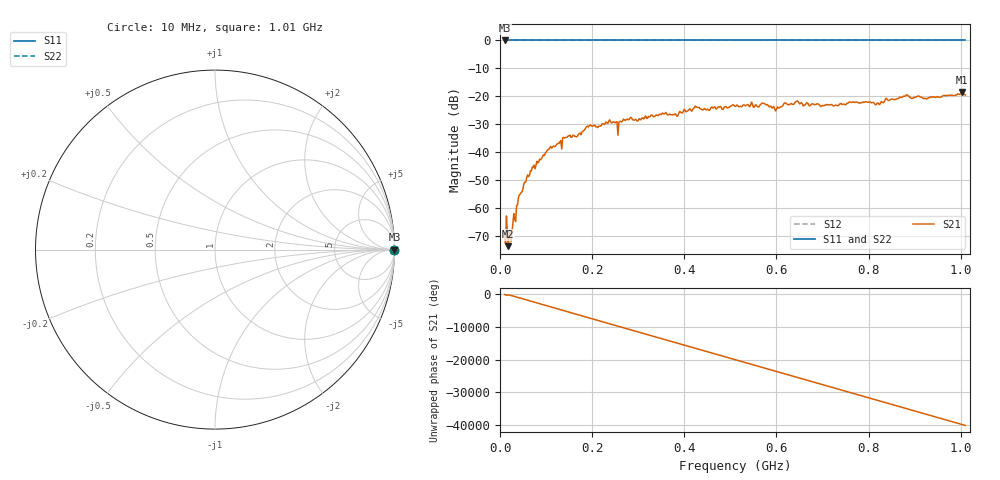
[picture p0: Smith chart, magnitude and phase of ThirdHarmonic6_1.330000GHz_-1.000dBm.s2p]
! 8/16/2025 2:51:48 PM
! C:\ANRITSUVNA\TEMP\TEMP.S2P
! CHANNEL.1
! TR.MEASUREMENT
! RAW.DATA
! RF.CORRECTION.OFF
! AVERAGING.OFF
! IF.BANDWIDTH: 5KHZ
! SWEEPTYPE:  FREQ.SWEEP(Linear)
! Reference Plane Port Info
! PORT:  PORT1  PORT2
! DISTANCE:  0  m  0  m
! TIME:  0  s  0  s
! PHASE.OFFSET:  0  deg.  0  deg.
! LOSS:  0  dB  0  dB
! REF.LOSS:  0  dB  0  dB
! REF.FREQ:  0  Hz  0  Hz
! Power Info
! POWER:  -20  dBm  -20  dBm
! EFF.POWER:  -20  dBm  -20  dBm
! SOURCE.ATTEN:  0  dB  0  dB
! TEST.ATTEN:  0  dB  0  dB
# GHZ S RI R 50.0
! FREQ.GHZ  S11RE  S11IM  S21RE  S21IM  S12RE  S12IM  S22RE  S22IM
!; PortSelection: Port_12
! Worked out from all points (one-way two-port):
!   501 points, 10 MHz to 1.01 GHz, reference 50 ohm
!   highest |S21| = -18.62 dB at 1.002 GHz (marker M1); lowest = -73.8 dB at 18 MHz (marker M2)
!   lowest |S11| = 0.0 dB at 10 MHz (marker M3)
!   |S11| at or under -10 dB: nowhere
!   |S22| runs from 0.0 to 0.0 dB; largest |S21 - S12| = 1.1
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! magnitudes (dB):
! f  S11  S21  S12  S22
! 10 MHz  0.0  -69.1  0.0  0.0
! 18 MHz  0.0  -73.8  0.0  0.0
! 22 MHz  0.0  -68.2  0.0  0.0
! 40 MHz  0.0  -56.4  0.0  0.0
! 70 MHz  0.0  -45.4  0.0  0.0
! 106 MHz  0.0  -39.1  0.0  0.0
! 140 MHz  0.0  -35.0  0.0  0.0
! 178 MHz  0.0  -32.7  0.0  0.0
! 192 MHz  0.0  -31.0  0.0  0.0
! 240 MHz  0.0  -29.2  0.0  0.0
! 260 MHz  0.0  -29.0  0.0  0.0
! 272 MHz  0.0  -28.7  0.0  0.0
! 344 MHz  0.0  -26.9  0.0  0.0
! 510 MHz  0.0  -23.6  0.0  0.0
! 572 MHz  0.0  -22.5  0.0  0.0
! 600 MHz  0.0  -24.7  0.0  0.0
! 644 MHz  0.0  -21.9  0.0  0.0
! 678 MHz  0.0  -22.8  0.0  0.0
! 820 MHz  0.0  -22.4  0.0  0.0
! 844 MHz  0.0  -21.6  0.0  0.0
! 1.002 GHz  0.0  -18.6  0.0  0.0
! 1.01 GHz  0.0  -19.6  0.0  0.0
